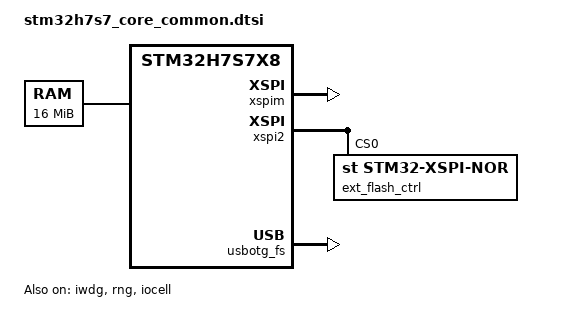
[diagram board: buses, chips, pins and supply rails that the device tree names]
/*
 * SPDX-License-Identifier: Apache-2.0
 *
 * STM32H7S7 base shared by every device of this core: internal clocks, octal NOR on XSPI2 (XIP), USB OTG FS.
 * Device variants add their own peripherals (Ethernet, buses, PSRAM) and the real flash size.
 */

/dts-v1/;
#include <st/h7rs/stm32h7s7X8.dtsi>
#include <st/h7/stm32h7s7a8ix-pinctrl.dtsi>

/ {
	chosen {
		zephyr,sram = &sram0;
	};

	aliases {
		watchdog0 = &iwdg;
	};

	ext_flash_mem: memory@70000000 {
		compatible = "zephyr,memory-region";
		reg = <0x70000000 DT_SIZE_M(16)>;
		zephyr,memory-region = "EXTMEM";
		zephyr,memory-attr = <DT_MEM_ARM(ATTR_MPU_FLASH)>;
	};
};

&clk_hsi {
	hsi-div = <1>;
	status = "okay";
};

&clk_hsi48 {
	status = "okay";
};

&pll {
	div-m = <8>;
	mul-n = <75>;
	div-p = <1>;
	div-q = <2>;
	div-r = <2>;
	div-s = <2>;
	div-t = <2>;
	clocks = <&clk_hsi>;
	status = "okay";
};

&rcc {
	clocks = <&pll>;
	clock-frequency = <DT_FREQ_M(600)>;
	dcpre = <1>;
	hpre = <2>;
	ppre1 = <2>;
	ppre2 = <2>;
	ppre4 = <2>;
	ppre5 = <2>;
};

&pwr {
	power-supply = "smps-direct";
};

&iwdg {
	status = "okay";
};

&rng {
	status = "okay";
};

&xspim {
	status = "okay";
};

&xspi2 {
	pinctrl-0 = <&xspim_p2_clk_pn6 &xspim_p2_ncs1_pn1
		     &xspim_p2_io0_pn2 &xspim_p2_io1_pn3
		     &xspim_p2_io2_pn4 &xspim_p2_io3_pn5
		     &xspim_p2_io4_pn8 &xspim_p2_io5_pn9
		     &xspim_p2_io6_pn10 &xspim_p2_io7_pn11
		     &xspim_p2_dqs0_pn0>;
	pinctrl-names = "default";
	status = "okay";

	ext_flash_ctrl: xspi-nor-flash@0 {
		compatible = "st,stm32-xspi-nor";
		reg = <0>;
		size = <DT_SIZE_M(128)>; /* 128 Mbits, the minimum this core supports */
		ospi-max-frequency = <DT_FREQ_M(50)>;
		spi-bus-width = <XSPI_OCTO_MODE>;
		data-rate = <XSPI_DTR_TRANSFER>;
		four-byte-opcodes;
		status = "okay";

		#address-cells = <1>;
		#size-cells = <1>;
		ranges = <0x0 0x70000000 DT_SIZE_M(16)>;

		ext_flash: ext-flash@0 {
			compatible = "soc-nv-flash";
			reg = <0x0 DT_SIZE_M(16)>;
			write-block-size = <1>;
			erase-block-size = <DT_SIZE_K(4)>;
			#address-cells = <1>;
			#size-cells = <1>;
			ranges;
		};
	};
};

&iocell {
	status = "okay";

	vddxspi1 {
		hslv-mode = "on";
		compensation-enabled;
	};

	vddxspi2 {
		hslv-mode = "on";
		compensation-enabled;
	};
};

&usbotg_fs {
	pinctrl-0 = <&usb_otg_fs_dm_pm12 &usb_otg_fs_dp_pm11>;
	pinctrl-names = "default";
	status = "okay";
};

zephyr_udc0: &usbotg_fs {};

#include "stm32h7s7_core_flash_layout.dtsi"
